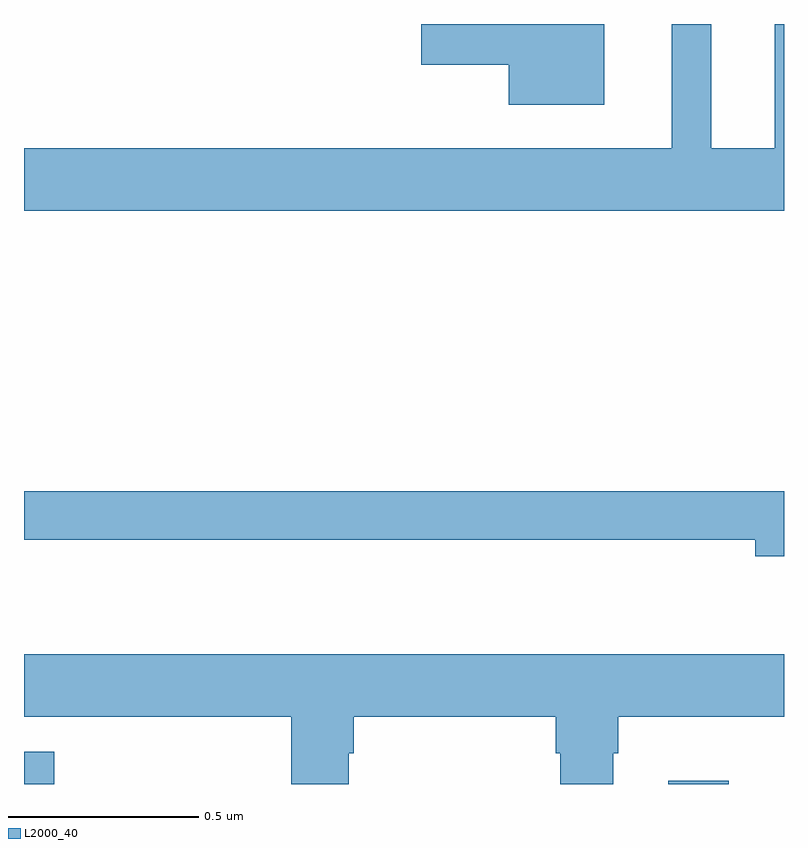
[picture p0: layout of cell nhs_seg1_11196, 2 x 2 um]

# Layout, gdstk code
import gdstk
lib = gdstk.Library(unit=1e-6, precision=1e-09)
def R(c, l, rs):  # rectangles x0, y0, x1, y1
    for r in rs: c.add(gdstk.rectangle(r[:2], r[2:], *l))
def P(c, l, *ps):  # polygons
    for p in ps: c.add(gdstk.Polygon(p, *l))
L2000_40 = (2000, 40)

nhs_seg1_11196 = lib.new_cell('nhs_seg1_11196')
R(nhs_seg1_11196, L2000_40, [(250,574.199,250.079,574.284), (251.696,574.199,251.855,574.207)])
P(nhs_seg1_11196, L2000_40, [(252,576.199),(251.975,576.199),(251.975,575.872),(251.809,575.872),(251.809,576.199),(251.705,576.199),(251.705,575.872),(250,575.872),(250,575.708),(252,575.708)],
  [(251.527,576.199),(251.046,576.199),(251.046,576.092),(251.276,576.092),(251.276,575.987),(251.527,575.987)],
  [(252,574.97),(250,574.97),(250,574.842),(251.924,574.842),(251.924,574.799),(252,574.799)],
  [(250.855,574.28),(250.868,574.28),(250.868,574.376),(251.399,574.376),(251.399,574.28),(251.411,574.28),(251.411,574.199),(251.551,574.199),(251.551,574.28),(251.564,574.28),(251.564,574.376),(252,574.376),(252,574.54),(250,574.54),(250,574.376),(250.703,574.376),(250.703,574.199),(250.855,574.199)])

lib.write_gds('nhs_seg1_11196.gds')
